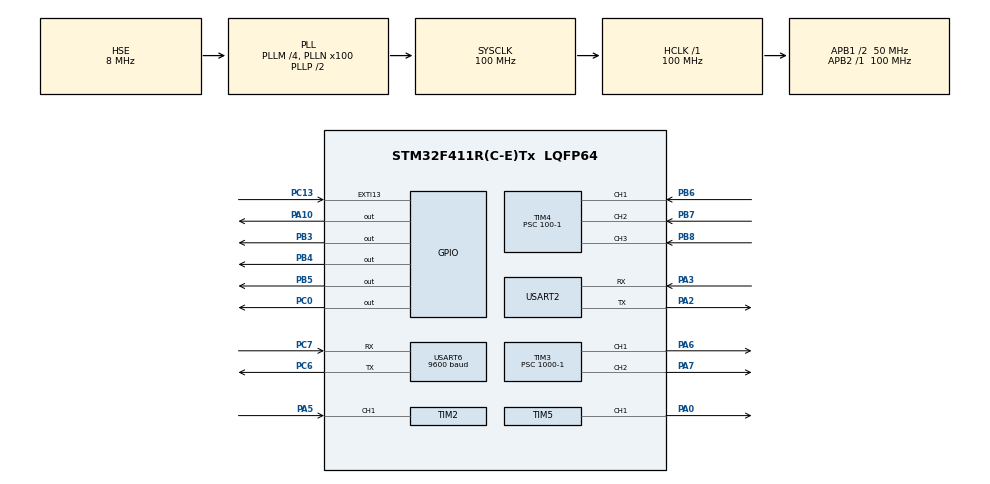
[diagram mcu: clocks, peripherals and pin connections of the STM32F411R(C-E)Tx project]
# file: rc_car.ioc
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FREERTOS.Tasks01=defaultTask,24,128,StartDefaultTask,Default,NULL,Dynamic,NULL,NULL;myTask02,8,128,StartTask02,Default,NULL,Dynamic,NULL,NULL;myTask03,8,128,StartTask03,Default,NULL,Dynamic,NULL,NULL
FREERTOS.configUSE_NEWLIB_REENTRANT=1
Mcu.Family=STM32F4
Mcu.Name=STM32F411R(C-E)Tx
Mcu.Package=LQFP64
NVIC.PriorityGroup=NVIC_PRIORITYGROUP_4
NVIC.TIM1_UP_TIM10_IRQn=true\:15\:0\:false\:false\:true\:false\:false\:true\:true
NVIC.TIM3_IRQn=true\:5\:0\:false\:false\:true\:true\:true\:true\:true
NVIC.TIM4_IRQn=true\:5\:0\:false\:false\:true\:true\:true\:true\:true
NVIC.TimeBase=TIM1_UP_TIM10_IRQn
NVIC.TimeBaseIP=TIM10
NVIC.USART2_IRQn=true\:5\:0\:false\:false\:true\:true\:true\:true\:true
NVIC.USART6_IRQn=true\:5\:0\:false\:false\:true\:true\:true\:true\:true
PA0-WKUP.Signal=S_TIM5_CH1
PA10.Signal=GPIO_Output
PA13.Mode=Serial_Wire
PA13.Signal=SYS_JTMS-SWDIO
PA14.Mode=Serial_Wire
PA14.Signal=SYS_JTCK-SWCLK
PA2.Mode=Asynchronous
PA2.Signal=USART2_TX
PA3.Mode=Asynchronous
PA3.Signal=USART2_RX
PA5.Signal=S_TIM2_CH1_ETR
PA6.Signal=S_TIM3_CH1
PA7.Signal=S_TIM3_CH2
PB3.Signal=GPIO_Output
PB4.Signal=GPIO_Output
PB5.Signal=GPIO_Output
PB6.Signal=S_TIM4_CH1
PB7.Signal=S_TIM4_CH2
PB8.Signal=S_TIM4_CH3
PC0.Signal=GPIO_Output
PC13-ANTI_TAMP.Signal=GPXTI13
PC6.Mode=Asynchronous
PC6.Signal=USART6_TX
PC7.Mode=Asynchronous
PC7.Signal=USART6_RX
PH0\ -\ OSC_IN.Mode=HSE-External-Oscillator
PH0\ -\ OSC_IN.Signal=RCC_OSC_IN
PH1\ -\ OSC_OUT.Mode=HSE-External-Oscillator
PH1\ -\ OSC_OUT.Signal=RCC_OSC_OUT
ProjectManager.HeapSize=0x200
ProjectManager.StackSize=0x400
ProjectManager.TargetToolchain=STM32CubeIDE
RCC.48MHZClocksFreq_Value=50000000
RCC.AHBFreq_Value=100000000
RCC.APB1CLKDivider=RCC_HCLK_DIV2
RCC.APB1Freq_Value=50000000
RCC.APB1TimFreq_Value=100000000
RCC.APB2Freq_Value=100000000
RCC.APB2TimFreq_Value=100000000
RCC.CortexFreq_Value=100000000
RCC.HCLKFreq_Value=100000000
RCC.HSE_VALUE=8000000
RCC.HSI_VALUE=16000000
RCC.LSE_VALUE=32768
RCC.PLLM=4
RCC.PLLN=100
RCC.PLLSourceVirtual=RCC_PLLSOURCE_HSE
RCC.SYSCLKFreq_VALUE=100000000
RCC.SYSCLKSource=RCC_SYSCLKSOURCE_PLLCLK
RCC.VCOOutputFreq_Value=200000000
SH.S_TIM2_CH1_ETR.0=TIM2_CH1,Input_Capture1_from_TI1
SH.S_TIM3_CH1.0=TIM3_CH1,PWM Generation1 CH1
SH.S_TIM3_CH2.0=TIM3_CH2,PWM Generation2 CH2
SH.S_TIM4_CH1.0=TIM4_CH1,Input_Capture1_from_TI1
SH.S_TIM4_CH2.0=TIM4_CH2,Input_Capture2_from_TI2
SH.S_TIM4_CH3.0=TIM4_CH3,Input_Capture3_from_TI3
SH.S_TIM5_CH1.0=TIM5_CH1,PWM Generation1 CH1
TIM11.Prescaler=100-1
TIM2.Channel-Input_Capture1_from_TI1=TIM_CHANNEL_1
TIM3.Channel-PWM\ Generation1\ CH1=TIM_CHANNEL_1
TIM3.Channel-PWM\ Generation2\ CH2=TIM_CHANNEL_2
TIM3.Period=1000-1
TIM3.Prescaler=1000-1
TIM3.Pulse-PWM\ Generation1\ CH1=500
TIM3.Pulse-PWM\ Generation2\ CH2=500
TIM4.Channel-Input_Capture1_from_TI1=TIM_CHANNEL_1
TIM4.Channel-Input_Capture2_from_TI2=TIM_CHANNEL_2
TIM4.Channel-Input_Capture3_from_TI3=TIM_CHANNEL_3
TIM4.Prescaler=100-1
TIM5.Channel-PWM\ Generation1\ CH1=TIM_CHANNEL_1
TIM5.Period=1000-1
TIM5.Prescaler=2000-1
USART2.VirtualMode=VM_ASYNC
USART6.BaudRate=9600
USART6.VirtualMode=VM_ASYNC
VP_FREERTOS_VS_CMSIS_V2.Mode=CMSIS_V2
VP_SYS_VS_tim10.Mode=TIM10
VP_TIM11_VS_ClockSourceINT.Mode=Enable_Timer
VP_TIM2_VS_ClockSourceINT.Mode=Internal
VP_TIM3_VS_ClockSourceINT.Mode=Internal
VP_TIM4_VS_ClockSourceINT.Mode=Internal
board=custom

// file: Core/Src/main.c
/* USER CODE BEGIN Header */
/**
  ******************************************************************************
  * @file           : main.c
  * @brief          : Main program body
  ******************************************************************************
  * @attention
  *
  * Copyright (c) 2024 STMicroelectronics.
  * All rights reserved.
  *
  * This software is licensed under terms that can be found in the LICENSE file
  * in the root directory of this software component.
  * If no LICENSE file comes with this software, it is provided AS-IS.
  *
  ******************************************************************************
  */
/* USER CODE END Header */
#include "main.h"
#include "cmsis_os.h"
#include "tim.h"
#include "usart.h"
#include "gpio.h"

/* USER CODE BEGIN Includes */
#include "delay_us.h"

/* USER CODE END Includes */

/* USER CODE BEGIN PTD */
#define TRIG_PORT GPIOC
#define TRIG_PIN  GPIO_PIN_0

/* USER CODE END PTD */

/* USER CODE BEGIN PD */
#define Do 383
#define Re 340
#define Mi 304
#define Fa 287
#define Sol 255
#define Ra 227
#define qNote 150
#define wNote 1800

/* USER CODE END PD */

/* USER CODE BEGIN PM */
int _write(int file, unsigned char* p, int len)
{
    HAL_StatusTypeDef status = HAL_UART_Transmit(&huart2, p, len, 100);
    return (status == HAL_OK ? len : 0);
}

/* USER CODE END PM */

/* USER CODE BEGIN PV */
uint8_t rxData[1];
uint16_t IC_Value01=0;
uint16_t IC_Value02=0;
uint16_t IC_Value11=0;
uint16_t IC_Value12=0;
uint16_t IC_Value21=0;
uint16_t IC_Value22=0;
uint16_t echoTime0=0;
uint16_t echoTime1=0;
uint16_t echoTime2=0;
uint16_t captureFlag0=0;
uint16_t captureFlag1=0;
uint16_t captureFlag2=0;
uint16_t distance0=0;
uint16_t distance1=0;
uint16_t distance2=0;
uint8_t speedState=0;

/* USER CODE END PV */

void SystemClock_Config(void);
void MX_FREERTOS_Init(void);
/* USER CODE BEGIN PFP */
void HAL_UART_RxCpltCallback(UART_HandleTypeDef *huart)
{
  if(huart->Instance == USART6)
  {
    HAL_UART_Transmit_IT(&huart2, rxData,  1);
    HAL_UART_Receive_IT(&huart2, rxData,  1);
  }
}
////////////////////////////////////////////////////////////////////////////////////////////////
void HAL_TIM_IC_CaptureCallback(TIM_HandleTypeDef *htim)
{

  if(htim->Channel == HAL_TIM_ACTIVE_CHANNEL_1)
  {
    if(captureFlag0  ==0)
    {
      IC_Value01 = HAL_TIM_ReadCapturedValue(htim, TIM_CHANNEL_1);

      captureFlag0=1;

      __HAL_TIM_SET_CAPTUREPOLARITY(htim, TIM_CHANNEL_1, TIM_INPUTCHANNELPOLARITY_FALLING);
    }
    else if(captureFlag0 ==1)
    {
      IC_Value02 = HAL_TIM_ReadCapturedValue(htim, TIM_CHANNEL_1);

      __HAL_TIM_SET_COMPARE(&htim4, TIM_CHANNEL_1, 0);

      if(IC_Value02 > IC_Value01)
      {
        echoTime0 = IC_Value02 - IC_Value01;
      }

      else if(IC_Value01 > IC_Value02)
      {
        echoTime0 = (0xffff - IC_Value01) + IC_Value02;
      }

      distance0 = echoTime0 / 58;

      captureFlag0 = 0;

      __HAL_TIM_SET_CAPTUREPOLARITY(htim, TIM_CHANNEL_1, TIM_INPUTCHANNELPOLARITY_RISING);
      __HAL_TIM_DISABLE_IT(&htim4, TIM_IT_CC1);

    }
  }
  ///////////////////////////////////////////////////////////////////////
  if(htim->Channel == HAL_TIM_ACTIVE_CHANNEL_2)
    {
      if(captureFlag1 ==0)
      {
        IC_Value11 = HAL_TIM_ReadCapturedValue(htim, TIM_CHANNEL_2);
        captureFlag1=1;
        __HAL_TIM_SET_CAPTUREPOLARITY(htim, TIM_CHANNEL_2, TIM_INPUTCHANNELPOLARITY_FALLING);
      }
      else if(captureFlag1==1)
      {
        IC_Value12 = HAL_TIM_ReadCapturedValue(htim, TIM_CHANNEL_2);
//        __HAL_TIM_SET_COUNTER(&htim4,0);
        __HAL_TIM_SET_COMPARE(&htim4, TIM_CHANNEL_2, 0);

        if(IC_Value12 > IC_Value11)
        {
          echoTime1 = IC_Value12 - IC_Value11;
        }
        else if(IC_Value11 > IC_Value12)
        {
          echoTime1 = (0xffff - IC_Value11) + IC_Value12;
        }
        distance1 = echoTime1 / 58;
        captureFlag1 = 0;
        __HAL_TIM_SET_CAPTUREPOLARITY(htim, TIM_CHANNEL_2, TIM_INPUTCHANNELPOLARITY_RISING);
        __HAL_TIM_DISABLE_IT(&htim4, TIM_IT_CC2);
      }
    }
  //////////////////////////////////////////////////////////////////////////
  if(htim->Channel == HAL_TIM_ACTIVE_CHANNEL_3)
      {
        if(captureFlag2 ==0)
        {
          IC_Value21 = HAL_TIM_ReadCapturedValue(htim, TIM_CHANNEL_3);
          captureFlag2=1;
          __HAL_TIM_SET_CAPTUREPOLARITY(htim, TIM_CHANNEL_3, TIM_INPUTCHANNELPOLARITY_FALLING);
        }
        else if(captureFlag2==1)
        {
          IC_Value22 = HAL_TIM_ReadCapturedValue(htim, TIM_CHANNEL_3);

          __HAL_TIM_SET_COMPARE(&htim4, TIM_CHANNEL_3, 0);

          if(IC_Value22 > IC_Value21)
          {
            echoTime2 = IC_Value22 - IC_Value21;
          }
          else if(IC_Value21 > IC_Value22)
          {
            echoTime2 = (0xffff - IC_Value21) + IC_Value22;
          }
          distance2 = echoTime2 / 58;
          captureFlag2 = 0;
          __HAL_TIM_SET_CAPTUREPOLARITY(htim, TIM_CHANNEL_3, TIM_INPUTCHANNELPOLARITY_RISING);
          __HAL_TIM_DISABLE_IT(&htim4, TIM_IT_CC3);
        }
      }

}
  /////////////////////////////////////////////////////////////////////////////

void HCS_SR04(void)
{
  HAL_GPIO_WritePin(TRIG_PORT, TRIG_PIN, GPIO_PIN_SET);
  delay_us(10);
  HAL_GPIO_WritePin(TRIG_PORT, TRIG_PIN, GPIO_PIN_RESET);

  __HAL_TIM_ENABLE_IT(&htim4, TIM_IT_CC1);
  __HAL_TIM_ENABLE_IT(&htim4, TIM_IT_CC2);
  __HAL_TIM_ENABLE_IT(&htim4, TIM_IT_CC3);

}

void speedLow(void)
{
  TIM3->CCR1 =400;
  TIM3->CCR2 =400;
}

void speedHigh(void)
{
  TIM3->CCR1 =1000;
  TIM3->CCR2 =1000;
}
void controlSpeed1(void)
{
  if(speedState == 0)
  {
    speedLow();
  }
  else if(speedState == 1)
  {
   speedHigh();
  }
}

void buzzer(void)
{
  uint16_t song[]={Do,Re, Mi, Re, Do, Re, Mi};
  uint16_t time[]={qNote,qNote,qNote,qNote,qNote,qNote,qNote};
  for(int i = 0;i<=sizeof(song);i++)
  {
    TIM5->PSC = song[i];
    HAL_Delay(time[i]);
    TIM5->CCR1 = 0;
    HAL_Delay(5);
    TIM5->CCR1 = 500;
  }
}

void autoMode(void)
{
  //controlSpeed1();//오른쪾이 1

  HAL_UART_Receive_IT(&huart6, rxData, 1);

  if ( distance1 <= 8)  //LEFT
      {
      TIM3->CCR1 =800;
      TIM3->CCR2 =800;
      HAL_GPIO_WritePin(GPIOB, GPIO_PIN_4, 1);
      HAL_GPIO_WritePin(GPIOB, GPIO_PIN_5, 0);
      HAL_GPIO_WritePin(GPIOB, GPIO_PIN_3, 0);
      HAL_GPIO_WritePin(GPIOA, GPIO_PIN_10, 1);
      }

  else if (distance2 <= 8)//RIGHT
      {
       TIM3->CCR1 =800;//strong
       TIM3->CCR2 =800;
       HAL_GPIO_WritePin(GPIOB, GPIO_PIN_4, 0);
       HAL_GPIO_WritePin(GPIOB, GPIO_PIN_5, 1);
       HAL_GPIO_WritePin(GPIOB, GPIO_PIN_3, 1);
       HAL_GPIO_WritePin(GPIOA, GPIO_PIN_10, 0);
      }

  else if ((distance0 <= 30) && (distance1 < distance2))  //LEFT
      {
      TIM3->CCR1 =800;
      TIM3->CCR2 =800;
      HAL_GPIO_WritePin(GPIOB, GPIO_PIN_4, 1);
      HAL_GPIO_WritePin(GPIOB, GPIO_PIN_5, 0);
      HAL_GPIO_WritePin(GPIOB, GPIO_PIN_3, 0);
      HAL_GPIO_WritePin(GPIOA, GPIO_PIN_10, 1);
      }

  else if ((distance0 <= 30) && (distance1 > distance2))//RIGHT
      {
       TIM3->CCR1 =800;//strong
       TIM3->CCR2 =800;
       HAL_GPIO_WritePin(GPIOB, GPIO_PIN_4, 0);
       HAL_GPIO_WritePin(GPIOB, GPIO_PIN_5, 1);
       HAL_GPIO_WritePin(GPIOB, GPIO_PIN_3, 1);
       HAL_GPIO_WritePin(GPIOA, GPIO_PIN_10, 0);

      }
  else if ((distance0 <= 30) && (distance2 = distance1))//BACK
  {
    TIM3->CCR1 =400;
    TIM3->CCR2 =400;
    //speedLow();
    HAL_GPIO_WritePin(GPIOB, GPIO_PIN_4, 0);
        HAL_GPIO_WritePin(GPIOB, GPIO_PIN_5, 1);
        HAL_GPIO_WritePin(GPIOB, GPIO_PIN_3, 0);
        HAL_GPIO_WritePin(GPIOA, GPIO_PIN_10, 1);

  }
  else //FORWARD
  {
    TIM3->CCR1 =800;
    TIM3->CCR2 =800;
    HAL_GPIO_WritePin(GPIOB, GPIO_PIN_4, 1);
    HAL_GPIO_WritePin(GPIOB, GPIO_PIN_5, 0);
    HAL_GPIO_WritePin(GPIOB, GPIO_PIN_3, 1);
    HAL_GPIO_WritePin(GPIOA, GPIO_PIN_10, 0);
  }

//  else if((distance0 > 30 ) && (distance2 <= 30) && (distance1 <= 30))//FORWARD( SIDE BLOCK )
//    {
//      TIM3->CCR1 =400;
//      TIM3->CCR2 =400;
//      HAL_GPIO_WritePin(GPIOB, GPIO_PIN_4, 1);
//      HAL_GPIO_WritePin(GPIOB, GPIO_PIN_5, 0);
//      HAL_GPIO_WritePin(GPIOB, GPIO_PIN_3, 1);
//      HAL_GPIO_WritePin(GPIOA, GPIO_PIN_10, 0);
//    }
//  else if((distance0 <= 30 ) && (distance1 > 30) && (distance2 > 30))//FORWARD(ONLY FORWARD BLOCK)
//    {
//    TIM3->CCR1 =400;
//        TIM3->CCR2 =400;
//        //speedLow();
//    HAL_GPIO_WritePin(GPIOB, GPIO_PIN_4, 0);
//        HAL_GPIO_WritePin(GPIOB, GPIO_PIN_5, 1);
//        HAL_GPIO_WritePin(GPIOB, GPIO_PIN_3, 0);
//        HAL_GPIO_WritePin(GPIOA, GPIO_PIN_10, 1);
//
//    }
//  else if((distance0 > 30 ) && (distance1 <= 30) && (distance2 > 30))//FORWARD(ONLY RIGHT BLOCK)
//      {
//        TIM3->CCR1 =400;
//        TIM3->CCR2 =400;
//        HAL_GPIO_WritePin(GPIOB, GPIO_PIN_4, 1);
//        HAL_GPIO_WritePin(GPIOB, GPIO_PIN_5, 0);
//        HAL_GPIO_WritePin(GPIOB, GPIO_PIN_3, 1);
//        HAL_GPIO_WritePin(GPIOA, GPIO_PIN_10, 0);
//      }
//  else if((distance0 > 30 ) && (distance1 > 30) && (distance2 <= 30))//FORWARD(ONLY LEFT BLOCK)
//       {
//         TIM3->CCR1 =400;
//         TIM3->CCR2 =400;
//         HAL_GPIO_WritePin(GPIOB, GPIO_PIN_4, 1);
//         HAL_GPIO_WritePin(GPIOB, GPIO_PIN_5, 0);
//         HAL_GPIO_WritePin(GPIOB, GPIO_PIN_3, 1);
//         HAL_GPIO_WritePin(GPIOA, GPIO_PIN_10, 0);
//       }
}

//////////////////////////////////////////////////////////////////////
void manualJoystick(void)
{
  HAL_UART_Receive_IT(&huart6, rxData, 1);
  if (rxData[0] == 'F')
      {
        HAL_GPIO_WritePin(GPIOB, GPIO_PIN_4, 1);
        HAL_GPIO_WritePin(GPIOB, GPIO_PIN_5, 0);
        HAL_GPIO_WritePin(GPIOB, GPIO_PIN_3, 1);
        HAL_GPIO_WritePin(GPIOA, GPIO_PIN_10, 0);
      }
      else if (rxData[0] == 'B')
      {

        HAL_GPIO_WritePin(GPIOB, GPIO_PIN_4, 0);
        HAL_GPIO_WritePin(GPIOB, GPIO_PIN_5, 1);
        HAL_GPIO_WritePin(GPIOB, GPIO_PIN_3, 0);
        HAL_GPIO_WritePin(GPIOA, GPIO_PIN_10, 1);      }
      else if (rxData[0] == 'L')
      {
        speedLow();
        HAL_GPIO_WritePin(GPIOB, GPIO_PIN_4, 1);
        HAL_GPIO_WritePin(GPIOB, GPIO_PIN_5, 0);
        HAL_GPIO_WritePin(GPIOB, GPIO_PIN_3, 0);
        HAL_GPIO_WritePin(GPIOA, GPIO_PIN_10, 0);//1001
      }
      else if (rxData[0] == 'R')
      {
        speedLow();
        HAL_GPIO_WritePin(GPIOB, GPIO_PIN_4, 0);
        HAL_GPIO_WritePin(GPIOB, GPIO_PIN_5, 0);//0110
        HAL_GPIO_WritePin(GPIOB, GPIO_PIN_3, 1);
        HAL_GPIO_WritePin(GPIOA, GPIO_PIN_10, 0);
      }

      else if (rxData[0] == 'X')
      {
        HAL_GPIO_WritePin(GPIOB, GPIO_PIN_4, 0);
        HAL_GPIO_WritePin(GPIOB, GPIO_PIN_5, 0);
        HAL_GPIO_WritePin(GPIOB, GPIO_PIN_3, 0);
        HAL_GPIO_WritePin(GPIOA, GPIO_PIN_10, 0);

      }else if (rxData[0] == '0')
      {
        HAL_GPIO_WritePin(GPIOB, GPIO_PIN_4, 0);
        HAL_GPIO_WritePin(GPIOB, GPIO_PIN_5, 0);
        HAL_GPIO_WritePin(GPIOB, GPIO_PIN_3, 0);
        HAL_GPIO_WritePin(GPIOA, GPIO_PIN_10, 0);

      }
      else if (rxData[0] =='T')
      {
        autoMode();
      }

      else if(rxData[0] == 'S')
       {
         speedState = !speedState;
         controlSpeed1();
       }

//      if (rxData[0] =='C')
//      {
//        buzzer();
//
//      }
}

/* USER CODE END PFP */

int main(void)
{

  /* MCU Configuration--------------------------------------------------------*/

  /* Reset of all peripherals, Initializes the Flash interface and the Systick. */
  HAL_Init();

  /* Configure the system clock */
  SystemClock_Config();

  /* Initialize all configured peripherals */
  MX_GPIO_Init();
  MX_TIM3_Init();
  MX_USART2_UART_Init();
  MX_USART6_UART_Init();
  MX_TIM4_Init();
  MX_TIM2_Init();
  MX_TIM5_Init();
  MX_TIM11_Init();
  /* USER CODE BEGIN 2 */
  HAL_TIM_PWM_Start(&htim3, TIM_CHANNEL_1);
  HAL_TIM_PWM_Start(&htim3, TIM_CHANNEL_2);
  HAL_GPIO_WritePin(GPIOB, GPIO_PIN_4, 0);
   HAL_GPIO_WritePin(GPIOB, GPIO_PIN_5, 0);
   HAL_GPIO_WritePin(GPIOB, GPIO_PIN_3, 0);
   HAL_GPIO_WritePin(GPIOA, GPIO_PIN_10, 0);
   HAL_TIM_Base_Start(&htim11);
   HAL_TIM_Base_Start(&htim4);
   HAL_TIM_IC_Start_IT(&htim4, TIM_CHANNEL_1);
   HAL_TIM_IC_Start_IT(&htim4, TIM_CHANNEL_2);
   HAL_TIM_IC_Start_IT(&htim4, TIM_CHANNEL_3);
   HAL_TIM_IC_Start_IT(&htim2, TIM_CHANNEL_1);
   HAL_TIM_PWM_Start(&htim5,TIM_CHANNEL_1);

   HAL_Delay(1000);

   HAL_UART_Receive_IT(&huart6, rxData, 1);

  /* USER CODE END 2 */

  /* Init scheduler */
  osKernelInitialize();

  /* Call init function for freertos objects (in cmsis_os2.c) */
  MX_FREERTOS_Init();

  /* Start scheduler */
  osKernelStart();

  /* We should never get here as control is now taken by the scheduler */

  /* Infinite loop */
  while (1)
  {

    /* USER CODE BEGIN 3 */

//    printf("%d, %d, %d  \r\n", distance0, distance1,distance2);

//    manualJoystick();
    //controlSpeed1();
//    HAL_UART_Receive_IT(&huart6, rxData, 1);

  }
  /* USER CODE END 3 */
}

void SystemClock_Config(void)
{
  RCC_OscInitTypeDef RCC_OscInitStruct = {0};
  RCC_ClkInitTypeDef RCC_ClkInitStruct = {0};

  /** Configure the main internal regulator output voltage
  */
  __HAL_RCC_PWR_CLK_ENABLE();
  __HAL_PWR_VOLTAGESCALING_CONFIG(PWR_REGULATOR_VOLTAGE_SCALE1);

  /** Initializes the RCC Oscillators according to the specified parameters
  * in the RCC_OscInitTypeDef structure.
  */
  RCC_OscInitStruct.OscillatorType = RCC_OSCILLATORTYPE_HSE;
  RCC_OscInitStruct.HSEState = RCC_HSE_ON;
  RCC_OscInitStruct.PLL.PLLState = RCC_PLL_ON;
  RCC_OscInitStruct.PLL.PLLSource = RCC_PLLSOURCE_HSE;
  RCC_OscInitStruct.PLL.PLLM = 4;
  RCC_OscInitStruct.PLL.PLLN = 100;
  RCC_OscInitStruct.PLL.PLLP = RCC_PLLP_DIV2;
  RCC_OscInitStruct.PLL.PLLQ = 4;
  if (HAL_RCC_OscConfig(&RCC_OscInitStruct) != HAL_OK)
  {
    Error_Handler();
  }

  /** Initializes the CPU, AHB and APB buses clocks
  */
  RCC_ClkInitStruct.ClockType = RCC_CLOCKTYPE_HCLK|RCC_CLOCKTYPE_SYSCLK
                              |RCC_CLOCKTYPE_PCLK1|RCC_CLOCKTYPE_PCLK2;
  RCC_ClkInitStruct.SYSCLKSource = RCC_SYSCLKSOURCE_PLLCLK;
  RCC_ClkInitStruct.AHBCLKDivider = RCC_SYSCLK_DIV1;
  RCC_ClkInitStruct.APB1CLKDivider = RCC_HCLK_DIV2;
  RCC_ClkInitStruct.APB2CLKDivider = RCC_HCLK_DIV1;

  if (HAL_RCC_ClockConfig(&RCC_ClkInitStruct, FLASH_LATENCY_3) != HAL_OK)
  {
    Error_Handler();
  }
}

void HAL_TIM_PeriodElapsedCallback(TIM_HandleTypeDef *htim)
{
  if (htim->Instance == TIM10) {
    HAL_IncTick();
  }
}

void Error_Handler(void)
{
  __disable_irq();
  while (1)
  {
  }
}

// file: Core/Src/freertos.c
/* USER CODE BEGIN Header */
/**
  ******************************************************************************
  * File Name          : freertos.c
  * Description        : Code for freertos applications
  ******************************************************************************
  * @attention
  *
  * Copyright (c) 2024 STMicroelectronics.
  * All rights reserved.
  *
  * This software is licensed under terms that can be found in the LICENSE file
  * in the root directory of this software component.
  * If no LICENSE file comes with this software, it is provided AS-IS.
  *
  ******************************************************************************
  */
/* USER CODE END Header */

#include "FreeRTOS.h"
#include "task.h"
#include "main.h"
#include "cmsis_os.h"

/* USER CODE BEGIN Includes */
#include "delay_us.h"
/* USER CODE END Includes */

/* USER CODE BEGIN Variables */
extern uint8_t rxData[1];
/* USER CODE END Variables */
/* Definitions for defaultTask */
osThreadId_t defaultTaskHandle;
const osThreadAttr_t defaultTask_attributes = {
  .name = "defaultTask",
  .stack_size = 128 * 4,
  .priority = (osPriority_t) osPriorityNormal,
};
/* Definitions for myTask02 */
osThreadId_t myTask02Handle;
const osThreadAttr_t myTask02_attributes = {
  .name = "myTask02",
  .stack_size = 128 * 4,
  .priority = (osPriority_t) osPriorityLow,
};
/* Definitions for myTask03 */
osThreadId_t myTask03Handle;
const osThreadAttr_t myTask03_attributes = {
  .name = "myTask03",
  .stack_size = 128 * 4,
  .priority = (osPriority_t) osPriorityLow,
};

void StartDefaultTask(void *argument);
void StartTask02(void *argument);
void StartTask03(void *argument);

void MX_FREERTOS_Init(void); /* (MISRA C 2004 rule 8.1) */

void MX_FREERTOS_Init(void) {

  /* Create the thread(s) */
  /* creation of defaultTask */
  defaultTaskHandle = osThreadNew(StartDefaultTask, NULL, &defaultTask_attributes);

  /* creation of myTask02 */
  myTask02Handle = osThreadNew(StartTask02, NULL, &myTask02_attributes);

  /* creation of myTask03 */
  myTask03Handle = osThreadNew(StartTask03, NULL, &myTask03_attributes);

}

void StartDefaultTask(void *argument)
{
  for(;;)
  {
    osDelay(1);
  }
}

void StartTask02(void *argument)
{
  /* USER CODE BEGIN StartTask02 */
  /* Infinite loop */
  for(;;)
  {
    HCS_SR04();
    manualJoystick();
    osDelay(1);
  }
  /* USER CODE END StartTask02 */
}

void StartTask03(void *argument)
{
  /* USER CODE BEGIN StartTask03 */
  /* Infinite loop */
  for(;;)
  {
    if(rxData[0] == 'C')
    {
      buzzer();
    }
    osDelay(1);
  }
  /* USER CODE END StartTask03 */
}
